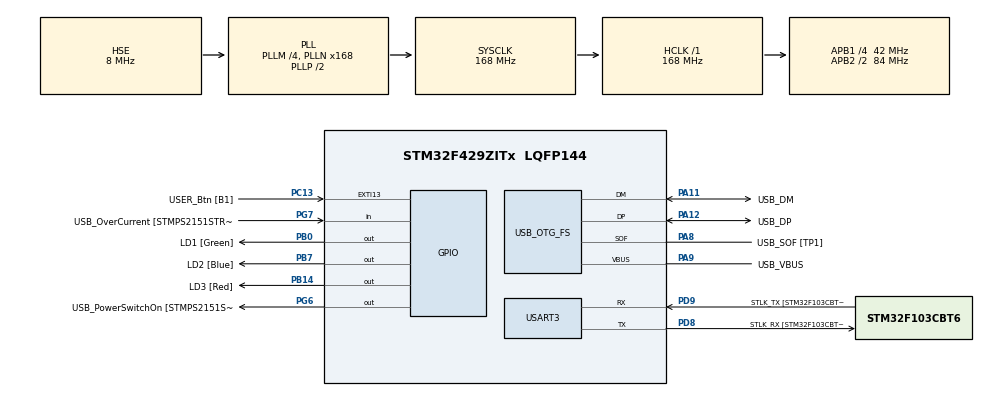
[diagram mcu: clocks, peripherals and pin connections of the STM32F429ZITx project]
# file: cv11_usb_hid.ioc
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Mcu.Family=STM32F4
Mcu.Name=STM32F429ZITx
Mcu.Package=LQFP144
NVIC.OTG_FS_IRQn=true\:0\:0\:false\:false\:true\:false\:true\:true
NVIC.PriorityGroup=NVIC_PRIORITYGROUP_4
PA1.GPIO_Label=RMII_REF_CLK [LAN8742A-CZ-TR_REFCLK0]
PA1.Signal=ETH_REF_CLK
PA10.GPIO_Label=USB_ID
PA10.Signal=USB_OTG_FS_ID
PA11.GPIO_Label=USB_DM
PA11.Mode=Device_Only
PA11.Signal=USB_OTG_FS_DM
PA12.GPIO_Label=USB_DP
PA12.Mode=Device_Only
PA12.Signal=USB_OTG_FS_DP
PA13.GPIO_Label=TMS
PA13.Mode=Serial_Wire
PA13.Signal=SYS_JTMS-SWDIO
PA14.GPIO_Label=TCK
PA14.Mode=Serial_Wire
PA14.Signal=SYS_JTCK-SWCLK
PA2.GPIO_Label=RMII_MDIO [LAN8742A-CZ-TR_MDIO]
PA2.Signal=ETH_MDIO
PA7.GPIO_Label=RMII_CRS_DV [LAN8742A-CZ-TR_CRS_DV]
PA7.Signal=ETH_CRS_DV
PA8.GPIO_Label=USB_SOF [TP1]
PA8.Mode=Activate_SOF_FS
PA8.Signal=USB_OTG_FS_SOF
PA9.GPIO_Label=USB_VBUS
PA9.Mode=Activate_VBUS
PA9.Signal=USB_OTG_FS_VBUS
PB0.GPIO_Label=LD1 [Green]
PB0.Signal=GPIO_Output
PB13.GPIO_Label=RMII_TXD1 [LAN8742A-CZ-TR_TXD1]
PB13.Signal=ETH_TXD1
PB14.GPIO_Label=LD3 [Red]
PB14.Signal=GPIO_Output
PB7.GPIO_Label=LD2 [Blue]
PB7.Signal=GPIO_Output
PC1.GPIO_Label=RMII_MDC [LAN8742A-CZ-TR_MDC]
PC1.Signal=ETH_MDC
PC13.GPIO_Label=USER_Btn [B1]
PC13.Signal=GPXTI13
PC14/OSC32_IN.Mode=LSE-External-Oscillator
PC14/OSC32_IN.Signal=RCC_OSC32_IN
PC15/OSC32_OUT.Mode=LSE-External-Oscillator
PC15/OSC32_OUT.Signal=RCC_OSC32_OUT
PC4.GPIO_Label=RMII_RXD0 [LAN8742A-CZ-TR_RXD0]
PC4.Signal=ETH_RXD0
PC5.GPIO_Label=RMII_RXD1 [LAN8742A-CZ-TR_RXD1]
PC5.Signal=ETH_RXD1
PD8.GPIO_Label=STLK_RX [STM32F103CBT6_PA3]
PD8.Mode=Asynchronous
PD8.Signal=USART3_TX
PD9.GPIO_Label=STLK_TX [STM32F103CBT6_PA2]
PD9.Mode=Asynchronous
PD9.Signal=USART3_RX
PG11.GPIO_Label=RMII_TX_EN [LAN8742A-CZ-TR_TXEN]
PG11.Signal=ETH_TX_EN
PG13.GPIO_Label=RMII_TXD0 [LAN8742A-CZ-TR_TXD0]
PG13.Signal=ETH_TXD0
PG6.GPIO_Label=USB_PowerSwitchOn [STMPS2151STR_EN]
PG6.Signal=GPIO_Output
PG7.GPIO_Label=USB_OverCurrent [STMPS2151STR_FAULT]
PG7.Signal=GPIO_Input
PH0/OSC_IN.GPIO_Label=MCO [STM32F103CBT6_PA8]
PH0/OSC_IN.Mode=HSE-External-Clock-Source
PH0/OSC_IN.Signal=RCC_OSC_IN
PH1/OSC_OUT.Mode=HSE-External-Clock-Source
PH1/OSC_OUT.Signal=RCC_OSC_OUT
ProjectManager.HeapSize=0x200
ProjectManager.StackSize=0x400
ProjectManager.TargetToolchain=STM32CubeIDE
RCC.48MHZClocksFreq_Value=48000000
RCC.AHBFreq_Value=168000000
RCC.APB1CLKDivider=RCC_HCLK_DIV4
RCC.APB1Freq_Value=42000000
RCC.APB1TimFreq_Value=84000000
RCC.APB2CLKDivider=RCC_HCLK_DIV2
RCC.APB2Freq_Value=84000000
RCC.APB2TimCLKDivider=2
RCC.APB2TimFreq_Value=168000000
RCC.CortexFreq_Value=168000000
RCC.HCLKFreq_Value=168000000
RCC.HSE_VALUE=8000000
RCC.HSI_VALUE=16000000
RCC.PLLM=4
RCC.PLLMUL=RCC_PLL_MUL9
RCC.PLLN=168
RCC.PLLQ=7
RCC.PRESCALERUSB=RCC_USBCLKSOURCE_PLL_DIV1_5
RCC.SYSCLKFreq_VALUE=168000000
RCC.SYSCLKSource=RCC_SYSCLKSOURCE_PLLCLK
RCC.SYSCLKSourceVirtual=RCC_SYSCLKSOURCE_PLLCLK
RCC.USBFreq_Value=48000000
RCC.VCOOutputFreq_Value=336000000
USART3.VirtualMode=VM_ASYNC
USB_DEVICE.CLASS_NAME_FS=HID
USB_DEVICE.VirtualMode-HID_FS=Hid
USB_DEVICE.VirtualModeFS=Hid_FS
USB_OTG_FS.VirtualMode=Device_Only
VP_USB_DEVICE_VS_USB_DEVICE_HID_FS.Mode=HID_FS
board=NUCLEO-F429ZI

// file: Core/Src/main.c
/* USER CODE BEGIN Header */
/**
  ******************************************************************************
  * @file           : main.c
  * @brief          : Main program body
  ******************************************************************************
  * @attention
  *
  * Copyright (c) 2023 STMicroelectronics.
  * All rights reserved.
  *
  * This software is licensed under terms that can be found in the LICENSE file
  * in the root directory of this software component.
  * If no LICENSE file comes with this software, it is provided AS-IS.
  *
  ******************************************************************************
  */
/* USER CODE END Header */
#include "main.h"
#include "usb_device.h"

/* USER CODE BEGIN Includes */
#include "usbd_hid.h"
#include <math.h>
/* USER CODE END Includes */

UART_HandleTypeDef huart3;

void SystemClock_Config(void);
static void MX_GPIO_Init(void);
static void MX_USART3_UART_Init(void);

/* USER CODE BEGIN 0 */
extern USBD_HandleTypeDef hUsbDeviceFS;

static void kresba(int8_t x, int8_t y, int8_t press) {
	uint8_t buff[4];
	buff[0] = press; // stiskni leve tlacitko
	buff[1] = (int8_t)(0); // posun X +10, max 127 "pixelov"
	buff[2] = (int8_t)(0); // posun Y -3
	buff[3] = 0; // bez scrollu
	USBD_HID_SendReport(&hUsbDeviceFS, buff, sizeof(buff));
	HAL_Delay(USBD_HID_GetPollingInterval(&hUsbDeviceFS)); // usb master slave vztah, ak chce pocitac dostat veci od periferie, musi volat, mys sama seba nemouze posielat

	buff[0] = press; // stiskni leve tlacitko
	buff[1] = (int8_t)(x); // posun X +10, max 127 "pixelov"
	buff[2] = (int8_t)(y); // posun Y -3
	buff[3] = 0; // bez scrollu
	USBD_HID_SendReport(&hUsbDeviceFS, buff, sizeof(buff));
	HAL_Delay(USBD_HID_GetPollingInterval(&hUsbDeviceFS)); // usb master slave vztah, ak chce pocitac dostat veci od periferie, musi volat, mys sama seba nemouze posielat

	buff[0] = 0x00; // stiskni leve tlacitko
	buff[1] = (int8_t)(0); // posun X +10, max 127 "pixelov"
	buff[2] = (int8_t)(0); // posun Y -3
	buff[3] = 0; // bez scrollu
	USBD_HID_SendReport(&hUsbDeviceFS, buff, sizeof(buff));
	HAL_Delay(USBD_HID_GetPollingInterval(&hUsbDeviceFS)); // usb master slave vztah, ak chce pocitac dostat veci od periferie, musi volat, mys sama seba nemouze posielat
}
static void kresbaKoliesko(uint8_t radius, uint16_t anglePart, int16_t angleStart, int16_t angleEnd) {
	kresba(radius,0,0);
	float sx = radius;
	float sy = 0;

	for (uint16_t angle = 0; angle <= 360 ; angle += anglePart) {
		float x = radius * cosf((angle/180.0)*M_PI);
		float y = radius * sinf((angle/180.0)*M_PI);

		float dx = x - sx;
		float dy = y - sy;

		sx = x;
		sy = y;

		if (angleStart<angle && angle<=angleEnd) {
			kresba(dx,dy,1);
		} else {
			kresba(dx,dy,0);
		}
	}
	kresba(-radius,0,0);
}
/* USER CODE END 0 */

int main(void)
{

  /* MCU Configuration--------------------------------------------------------*/

  /* Reset of all peripherals, Initializes the Flash interface and the Systick. */
  HAL_Init();

  /* Configure the system clock */
  SystemClock_Config();

  /* Initialize all configured peripherals */
  MX_GPIO_Init();
  MX_USART3_UART_Init();
  MX_USB_DEVICE_Init();

  /* Infinite loop */
  while (1)
  {

    /* USER CODE BEGIN 3 */
	  if (HAL_GPIO_ReadPin(USER_Btn_GPIO_Port, USER_Btn_Pin)) {

		 // hlava
		 kresbaKoliesko(50, 10, 0, 360);

		 //kresba(0,15,0);

		 // oko 1
		 /*

		 posun(15,-15);
		 kresbaKoliesko(2,10);
		 pust();

		 // oko 2
		 posun(-30,0);
		 kresbaKoliesko(2,10);
		 pust();

		 posun(15,0);
		 kresbaPolkoliesko(5,10,90,270);
		 pust();
		 */
	  }
  }
  /* USER CODE END 3 */
}

void SystemClock_Config(void)
{
  RCC_OscInitTypeDef RCC_OscInitStruct = {0};
  RCC_ClkInitTypeDef RCC_ClkInitStruct = {0};

  /** Configure the main internal regulator output voltage
  */
  __HAL_RCC_PWR_CLK_ENABLE();
  __HAL_PWR_VOLTAGESCALING_CONFIG(PWR_REGULATOR_VOLTAGE_SCALE1);

  /** Initializes the RCC Oscillators according to the specified parameters
  * in the RCC_OscInitTypeDef structure.
  */
  RCC_OscInitStruct.OscillatorType = RCC_OSCILLATORTYPE_HSE;
  RCC_OscInitStruct.HSEState = RCC_HSE_BYPASS;
  RCC_OscInitStruct.PLL.PLLState = RCC_PLL_ON;
  RCC_OscInitStruct.PLL.PLLSource = RCC_PLLSOURCE_HSE;
  RCC_OscInitStruct.PLL.PLLM = 4;
  RCC_OscInitStruct.PLL.PLLN = 168;
  RCC_OscInitStruct.PLL.PLLP = RCC_PLLP_DIV2;
  RCC_OscInitStruct.PLL.PLLQ = 7;
  if (HAL_RCC_OscConfig(&RCC_OscInitStruct) != HAL_OK)
  {
    Error_Handler();
  }

  /** Initializes the CPU, AHB and APB buses clocks
  */
  RCC_ClkInitStruct.ClockType = RCC_CLOCKTYPE_HCLK|RCC_CLOCKTYPE_SYSCLK
                              |RCC_CLOCKTYPE_PCLK1|RCC_CLOCKTYPE_PCLK2;
  RCC_ClkInitStruct.SYSCLKSource = RCC_SYSCLKSOURCE_PLLCLK;
  RCC_ClkInitStruct.AHBCLKDivider = RCC_SYSCLK_DIV1;
  RCC_ClkInitStruct.APB1CLKDivider = RCC_HCLK_DIV4;
  RCC_ClkInitStruct.APB2CLKDivider = RCC_HCLK_DIV2;

  if (HAL_RCC_ClockConfig(&RCC_ClkInitStruct, FLASH_LATENCY_5) != HAL_OK)
  {
    Error_Handler();
  }
}

static void MX_USART3_UART_Init(void)
{

  huart3.Instance = USART3;
  huart3.Init.BaudRate = 115200;
  huart3.Init.WordLength = UART_WORDLENGTH_8B;
  huart3.Init.StopBits = UART_STOPBITS_1;
  huart3.Init.Parity = UART_PARITY_NONE;
  huart3.Init.Mode = UART_MODE_TX_RX;
  huart3.Init.HwFlowCtl = UART_HWCONTROL_NONE;
  huart3.Init.OverSampling = UART_OVERSAMPLING_16;
  if (HAL_UART_Init(&huart3) != HAL_OK)
  {
    Error_Handler();
  }

}

static void MX_GPIO_Init(void)
{
  GPIO_InitTypeDef GPIO_InitStruct = {0};

  /* GPIO Ports Clock Enable */
  __HAL_RCC_GPIOC_CLK_ENABLE();
  __HAL_RCC_GPIOH_CLK_ENABLE();
  __HAL_RCC_GPIOA_CLK_ENABLE();
  __HAL_RCC_GPIOB_CLK_ENABLE();
  __HAL_RCC_GPIOD_CLK_ENABLE();
  __HAL_RCC_GPIOG_CLK_ENABLE();

  /*Configure GPIO pin Output Level */
  HAL_GPIO_WritePin(GPIOB, LD1_Pin|LD3_Pin|LD2_Pin, GPIO_PIN_RESET);

  /*Configure GPIO pin Output Level */
  HAL_GPIO_WritePin(USB_PowerSwitchOn_GPIO_Port, USB_PowerSwitchOn_Pin, GPIO_PIN_RESET);

  /*Configure GPIO pin : USER_Btn_Pin */
  GPIO_InitStruct.Pin = USER_Btn_Pin;
  GPIO_InitStruct.Mode = GPIO_MODE_IT_RISING;
  GPIO_InitStruct.Pull = GPIO_NOPULL;
  HAL_GPIO_Init(USER_Btn_GPIO_Port, &GPIO_InitStruct);

  /*Configure GPIO pins : RMII_MDC_Pin RMII_RXD0_Pin RMII_RXD1_Pin */
  GPIO_InitStruct.Pin = RMII_MDC_Pin|RMII_RXD0_Pin|RMII_RXD1_Pin;
  GPIO_InitStruct.Mode = GPIO_MODE_AF_PP;
  GPIO_InitStruct.Pull = GPIO_NOPULL;
  GPIO_InitStruct.Speed = GPIO_SPEED_FREQ_VERY_HIGH;
  GPIO_InitStruct.Alternate = GPIO_AF11_ETH;
  HAL_GPIO_Init(GPIOC, &GPIO_InitStruct);

  /*Configure GPIO pins : RMII_REF_CLK_Pin RMII_MDIO_Pin RMII_CRS_DV_Pin */
  GPIO_InitStruct.Pin = RMII_REF_CLK_Pin|RMII_MDIO_Pin|RMII_CRS_DV_Pin;
  GPIO_InitStruct.Mode = GPIO_MODE_AF_PP;
  GPIO_InitStruct.Pull = GPIO_NOPULL;
  GPIO_InitStruct.Speed = GPIO_SPEED_FREQ_VERY_HIGH;
  GPIO_InitStruct.Alternate = GPIO_AF11_ETH;
  HAL_GPIO_Init(GPIOA, &GPIO_InitStruct);

  /*Configure GPIO pins : LD1_Pin LD3_Pin LD2_Pin */
  GPIO_InitStruct.Pin = LD1_Pin|LD3_Pin|LD2_Pin;
  GPIO_InitStruct.Mode = GPIO_MODE_OUTPUT_PP;
  GPIO_InitStruct.Pull = GPIO_NOPULL;
  GPIO_InitStruct.Speed = GPIO_SPEED_FREQ_LOW;
  HAL_GPIO_Init(GPIOB, &GPIO_InitStruct);

  /*Configure GPIO pin : RMII_TXD1_Pin */
  GPIO_InitStruct.Pin = RMII_TXD1_Pin;
  GPIO_InitStruct.Mode = GPIO_MODE_AF_PP;
  GPIO_InitStruct.Pull = GPIO_NOPULL;
  GPIO_InitStruct.Speed = GPIO_SPEED_FREQ_VERY_HIGH;
  GPIO_InitStruct.Alternate = GPIO_AF11_ETH;
  HAL_GPIO_Init(RMII_TXD1_GPIO_Port, &GPIO_InitStruct);

  /*Configure GPIO pin : USB_PowerSwitchOn_Pin */
  GPIO_InitStruct.Pin = USB_PowerSwitchOn_Pin;
  GPIO_InitStruct.Mode = GPIO_MODE_OUTPUT_PP;
  GPIO_InitStruct.Pull = GPIO_NOPULL;
  GPIO_InitStruct.Speed = GPIO_SPEED_FREQ_LOW;
  HAL_GPIO_Init(USB_PowerSwitchOn_GPIO_Port, &GPIO_InitStruct);

  /*Configure GPIO pin : USB_OverCurrent_Pin */
  GPIO_InitStruct.Pin = USB_OverCurrent_Pin;
  GPIO_InitStruct.Mode = GPIO_MODE_INPUT;
  GPIO_InitStruct.Pull = GPIO_NOPULL;
  HAL_GPIO_Init(USB_OverCurrent_GPIO_Port, &GPIO_InitStruct);

  /*Configure GPIO pins : RMII_TX_EN_Pin RMII_TXD0_Pin */
  GPIO_InitStruct.Pin = RMII_TX_EN_Pin|RMII_TXD0_Pin;
  GPIO_InitStruct.Mode = GPIO_MODE_AF_PP;
  GPIO_InitStruct.Pull = GPIO_NOPULL;
  GPIO_InitStruct.Speed = GPIO_SPEED_FREQ_VERY_HIGH;
  GPIO_InitStruct.Alternate = GPIO_AF11_ETH;
  HAL_GPIO_Init(GPIOG, &GPIO_InitStruct);

}

void Error_Handler(void)
{
  __disable_irq();
  while (1)
  {
  }
}
